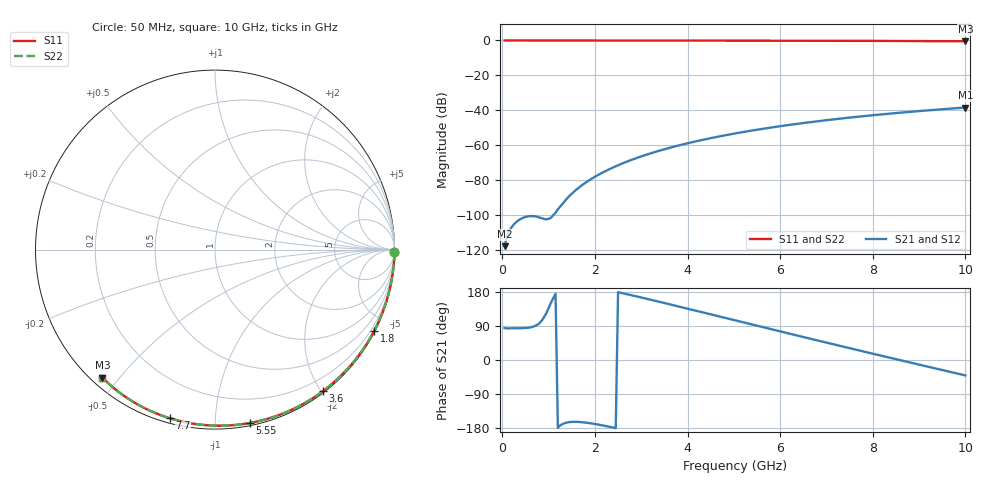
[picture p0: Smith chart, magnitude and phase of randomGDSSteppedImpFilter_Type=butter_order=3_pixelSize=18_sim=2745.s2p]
! freq	dB(S11)	phase(S11)	dB(S12)	phase(S12)
!  dB(S21)	phase(S21)	dB(S22)	phase(S22)
!S-par simulation data
#  GHz  S  DB  R 50
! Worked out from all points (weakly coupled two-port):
!   200 points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, 50 MHz to 10 GHz, reference 50 ohm
!   highest |S21| = -38.40 dB at 10 GHz (marker M1); lowest = -117.8 dB at 50 MHz (marker M2)
!   lowest |S11| = -0.4 dB at 10 GHz (marker M3), VSWR 39.07, Z = 1.54 - j22.6 ohm
!   |S11| at or under -10 dB: nowhere
!   |S22| runs from -0.4 to 0.0 dB; largest |S21 - S12| = 0
!   S11 on the Smith chart (normalised r, x): 50 MHz: open; 1.8 GHz: 0.04, -4.18; 3.6 GHz: 0.02, -2.02; 5.55 GHz: 0.02, -1.22; 7.7 GHz: 0.02, -0.77; 10 GHz: 0.03, -0.45
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0.05  -0.00 -0.8  -117.78 84.4  -117.78 84.4  -0.00 -0.8
0.9  -0.02 -13.6  -102.18 112.7  -102.18 112.7  -0.02 -13.6
1.75  -0.03 -26.2  -82.32 -164.5  -82.32 -164.5  -0.03 -26.2
1.8  -0.03 -26.9  -81.38 -165.2  -81.38 -165.2  -0.03 -26.9
1.85  -0.04 -27.6  -80.50 -166.0  -80.50 -166.0  -0.04 -27.7
1.9  -0.04 -28.4  -79.64 -166.9  -79.64 -166.9  -0.04 -28.4
2.05  -0.04 -30.6  -77.28 -170.0  -77.28 -170.0  -0.04 -30.6
2.25  -0.04 -33.5  -74.48 -174.6  -74.48 -174.6  -0.04 -33.5
2.45  -0.05 -36.4  -72.01 -179.8  -72.01 -179.8  -0.05 -36.4
2.65  -0.05 -39.2  -69.79 174.8  -69.79 174.8  -0.05 -39.3
3  -0.06 -44.2  -66.39 165.0  -66.39 165.0  -0.06 -44.2
3.4  -0.07 -49.8  -63.05 153.3  -63.05 153.3  -0.07 -49.9
3.6  -0.07 -52.6  -61.56 147.4  -61.56 147.4  -0.07 -52.7
4.3  -0.09 -62.2  -57.05 126.5  -57.05 126.5  -0.09 -62.2
5.05  -0.11 -72.1  -53.13 104.0  -53.13 104.0  -0.11 -72.2
5.55  -0.13 -78.6  -50.89 89.0  -50.89 89.0  -0.13 -78.6
6.1  -0.15 -85.6  -48.71 72.5  -48.71 72.5  -0.15 -85.6
6.7  -0.18 -93.0  -46.61 54.7  -46.61 54.7  -0.18 -93.0
7.7  -0.24 -105.0  -43.61 25.3  -43.61 25.3  -0.24 -105.0
8.35  -0.29 -112.6  -41.93 6.5  -41.93 6.5  -0.29 -112.6
9.15  -0.36 -121.7  -40.10 -16.5  -40.10 -16.5  -0.36 -121.8
10  -0.44 -131.3  -38.40 -40.7  -38.40 -40.7  -0.44 -131.4
